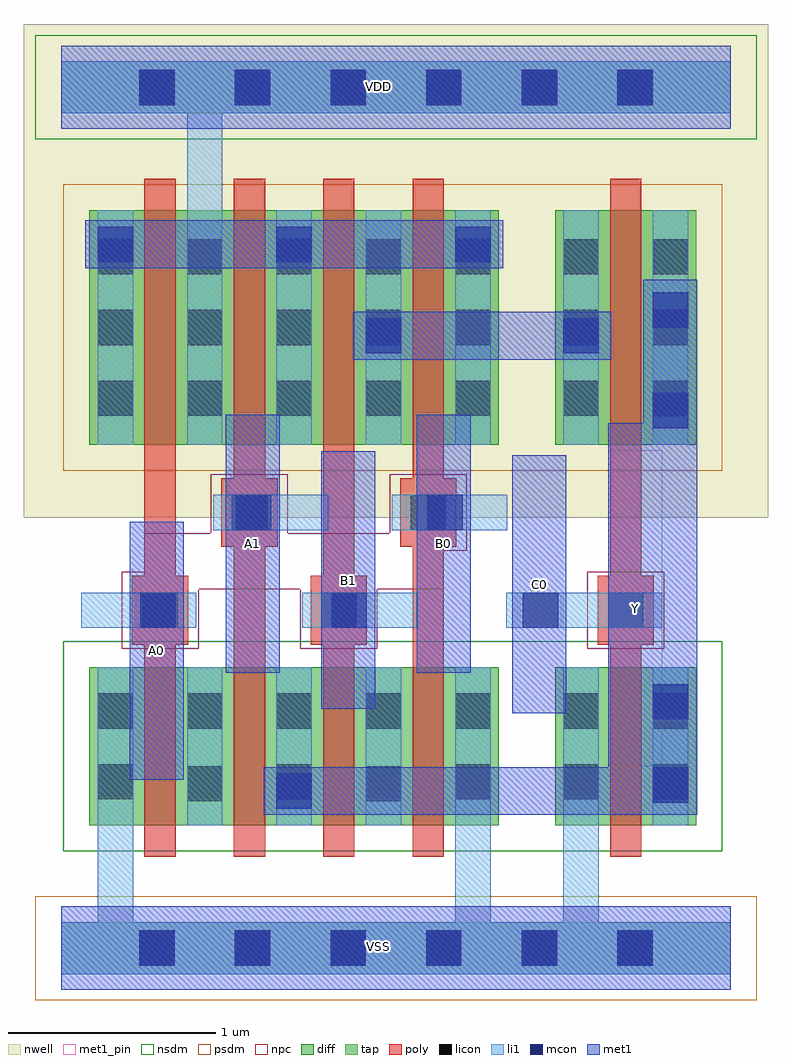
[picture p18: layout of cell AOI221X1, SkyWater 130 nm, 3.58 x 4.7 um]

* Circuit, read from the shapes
.subckt AOI221X1 A0 A1 B0 B1 C0 VDD VSS Y
XM1 n1 A0 VSS VSS sky130_fd_pr__nfet_01v8 w=0.76 l=0.15
XM2 Y A1 n1 VSS sky130_fd_pr__nfet_01v8 w=0.76 l=0.15
XM3 n2 B1 Y VSS sky130_fd_pr__nfet_01v8 w=0.76 l=0.15
XM4 VSS B0 n2 VSS sky130_fd_pr__nfet_01v8 w=0.76 l=0.15
XM5 Y C0 VSS VSS sky130_fd_pr__nfet_01v8 w=0.76 l=0.15
XM6 VDD A0 n3 VDD sky130_fd_pr__pfet_01v8 w=1.13 l=0.15
XM7 n3 A1 VDD VDD sky130_fd_pr__pfet_01v8 w=1.13 l=0.15
XM8 n4 B1 n3 VDD sky130_fd_pr__pfet_01v8 w=1.13 l=0.15
XM9 n3 B0 n4 VDD sky130_fd_pr__pfet_01v8 w=1.13 l=0.15
XM10 Y C0 n4 VDD sky130_fd_pr__pfet_01v8 w=1.13 l=0.15
.ends

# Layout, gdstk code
import gdstk
lib = gdstk.Library(unit=1e-6, precision=1e-09)
def R(c, l, rs):  # rectangles x0, y0, x1, y1
    for r in rs: c.add(gdstk.rectangle(r[:2], r[2:], *l))
def A(c, l, x, y, w, h, nx, ny, dx, dy):  # array of equal rectangles
    R(c, l, [(x+i*dx, y+j*dy, x+i*dx+w, y+j*dy+h) for i in range(nx) for j in range(ny)])
nwell = (64, 20)
diff = (65, 20)
tap = (65, 44)
poly = (66, 20)
licon = (66, 44)
li1 = (67, 20)
mcon = (67, 44)
met1_pin = (68, 16)
met1 = (68, 20)
nsdm = (93, 44)
psdm = (94, 20)
npc = (95, 20)

aoi221x1 = lib.new_cell('AOI221X1')
R(aoi221x1, nwell, [(-0.18,2.07,3.4,4.445)])
R(aoi221x1, diff, [(0.135,0.59,2.105,1.35), (2.375,0.59,3.055,1.35), (0.135,2.42,2.105,3.55), (2.375,2.42,3.055,3.55)])
R(aoi221x1, tap, [(0,-0.125,3.22,0.125), (0,4.015,3.22,4.265)])
R(aoi221x1, poly, [(0.4,0.44,0.55,1.46), (0.83,0.44,0.98,1.93), (1.26,0.44,1.41,1.46), (1.69,0.44,1.84,1.93), (2.64,0.44,2.79,1.46), (0.34,1.46,0.61,1.79), (1.2,1.46,1.47,1.79), (2.58,1.46,2.85,1.79), (0.4,1.79,0.55,3.7), (1.26,1.79,1.41,3.7), (2.64,1.79,2.79,3.7), (0.77,1.93,1.04,2.26), (1.63,1.93,1.9,2.26), (0.83,2.26,0.98,3.7), (1.69,2.26,1.84,3.7)])
A(aoi221x1, licon, 0.375, -0.085, 0.17, 0.17, 6, 2, 0.46, 4.14)
A(aoi221x1, licon, 0.175, 0.715, 0.17, 0.17, 3, 1, 0.86, 0)
A(aoi221x1, licon, 0.175, 1.055, 0.17, 0.17, 5, 2, 0.43, 1.505)
A(aoi221x1, licon, 2.415, 2.56, 0.17, 0.17, 1, 3, 0, 0.34)
A(aoi221x1, licon, 2.845, 2.56, 0.17, 0.17, 1, 3, 0, 0.34)
A(aoi221x1, licon, 0.175, 2.9, 0.17, 0.17, 5, 2, 0.43, 0.34)
R(aoi221x1, licon, [(0.605,0.705,0.775,0.875), (1.465,0.705,1.635,0.875), (2.415,0.715,2.585,0.885), (2.845,0.715,3.015,0.885), (2.415,1.055,2.585,1.225), (2.845,1.055,3.015,1.225), (0.39,1.54,0.56,1.71), (1.25,1.54,1.42,1.71), (2.63,1.54,2.8,1.71), (0.82,2.01,0.99,2.18), (1.68,2.01,1.85,2.18)])
A(aoi221x1, li1, 0.605, 0.59, 0.17, 0.76, 3, 1, 0.43, 0)
A(aoi221x1, li1, 1.035, 2.42, 0.17, 1.13, 3, 1, 0.43, 0)
R(aoi221x1, li1, [(0,-0.125,3.22,0.125), (0.175,0.125,0.345,1.35), (1.895,0.125,2.065,1.35), (2.415,0.125,2.585,1.35), (2.845,0.59,3.015,1.35), (0.095,1.54,0.65,1.71), (1.16,1.54,1.715,1.71), (2.14,1.54,2.89,1.71), (0.73,2.01,1.285,2.18), (1.59,2.01,2.145,2.18), (0.175,2.42,0.345,3.55), (0.605,2.42,0.775,4.015), (2.415,2.42,2.585,3.55), (2.845,2.42,3.015,3.55), (0,4.015,3.22,4.265)])
A(aoi221x1, mcon, 0.375, -0.085, 0.17, 0.17, 6, 2, 0.46, 4.14)
A(aoi221x1, mcon, 0.38, 1.54, 0.17, 0.17, 3, 1, 0.92, 0)
A(aoi221x1, mcon, 0.175, 3.3, 0.17, 0.17, 3, 1, 0.86, 0)
R(aoi221x1, mcon, [(1.035,0.67,1.205,0.84), (2.845,0.7,3.015,0.87), (2.845,1.1,3.015,1.27), (0.84,2.01,1.01,2.18), (1.76,2.01,1.93,2.18), (2.845,2.5,3.015,2.67), (1.465,2.86,1.635,3.03), (2.415,2.86,2.585,3.03), (2.845,2.985,3.015,3.155)])
R(aoi221x1, met1_pin, [(0.33,0.81,0.59,2.05), (2.63,0.875,2.89,2.395), (2.17,1.13,2.43,2.37), (1.25,1.15,1.51,2.39), (0.79,1.325,1.05,2.565), (1.71,1.325,1.97,2.565)])
R(aoi221x1, met1, [(0,-0.2,3.22,0.2), (0.975,0.64,3.06,0.87), (0.33,0.81,0.59,2.05), (2.63,0.87,3.06,2.525), (2.17,1.13,2.43,2.37), (1.25,1.15,1.51,2.39), (0.79,1.325,1.05,2.565), (1.71,1.325,1.97,2.565), (2.8,2.525,3.06,3.215), (1.405,2.83,2.645,3.06), (0.115,3.27,2.125,3.5), (0,3.94,3.22,4.34)])
R(aoi221x1, nsdm, [(0.01,0.465,3.18,1.475), (-0.125,3.89,3.345,4.39)])
R(aoi221x1, psdm, [(-0.125,-0.25,3.345,0.25), (0.01,2.295,3.18,3.675)])
R(aoi221x1, npc, [(0.29,1.44,0.66,1.725), (1.15,1.44,1.52,1.725), (2.53,1.44,2.9,1.81), (0.29,1.725,1.84,1.81), (0.4,1.81,1.84,1.91), (0.4,1.91,1.95,1.995), (0.72,1.995,1.09,2.28), (1.58,1.995,1.95,2.28)])
aoi221x1.add(gdstk.Label('VDD', (1.525,4.145), layer=68, texttype=5))
aoi221x1.add(gdstk.Label('VSS', (1.525,0.005), layer=68, texttype=5))
aoi221x1.add(gdstk.Label('A1', (0.92,1.945), layer=68, texttype=5))
aoi221x1.add(gdstk.Label('A0', (0.46,1.43), layer=68, texttype=5))
aoi221x1.add(gdstk.Label('Y', (2.76,1.635), layer=68, texttype=5))
aoi221x1.add(gdstk.Label('B1', (1.38,1.77), layer=68, texttype=5))
aoi221x1.add(gdstk.Label('C0', (2.3,1.75), layer=68, texttype=5))
aoi221x1.add(gdstk.Label('B0', (1.84,1.945), layer=68, texttype=5))

lib.write_gds('AOI221X1.gds')
